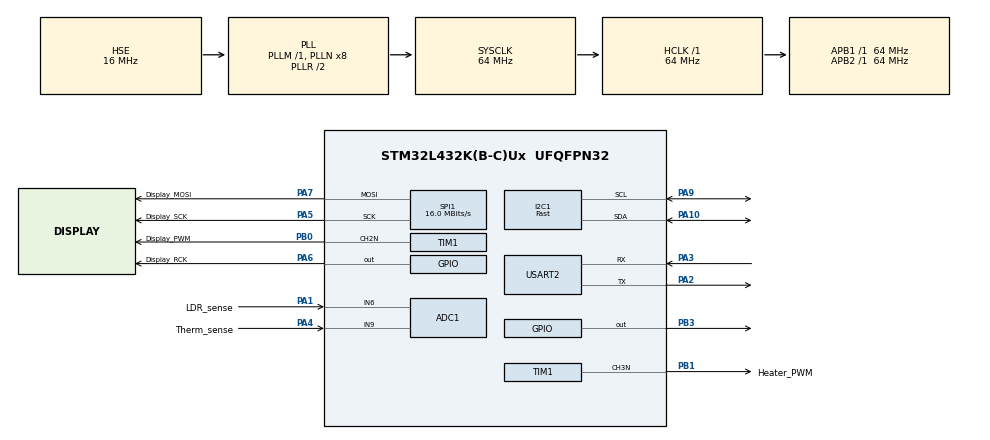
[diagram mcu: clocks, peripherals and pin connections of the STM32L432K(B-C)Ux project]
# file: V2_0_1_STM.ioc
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ADC1.Channel-0\#ChannelRegularConversion=ADC_CHANNEL_9
ADC1.NbrOfConversionFlag=1
ADC1.OffsetNumber-0\#ChannelRegularConversion=ADC_OFFSET_NONE
ADC1.Rank-0\#ChannelRegularConversion=1
ADC1.SamplingTime-0\#ChannelRegularConversion=ADC_SAMPLETIME_12CYCLES_5
ADC1.master=1
FREERTOS.Tasks01=defaultTask,-1,512,StartDefaultTask,Default,NULL,Dynamic,NULL,NULL;heaterControl,0,512,StartTask02,Default,NULL,Dynamic,NULL,NULL;Trancieve,-2,512,StartTask03,Default,NULL,Dynamic,NULL,NULL;displayMux,1,512,StartTask04,Default,NULL,Dynamic,NULL,NULL
FREERTOS.configENABLE_FPU=1
FREERTOS.configTOTAL_HEAP_SIZE=16384
I2C1.I2C_Speed_Mode=I2C_Fast
I2C1.Timing=0x00C12166
Mcu.Family=STM32L4
Mcu.Name=STM32L432K(B-C)Ux
Mcu.Package=UFQFPN32
NVIC.PriorityGroup=NVIC_PRIORITYGROUP_4
PA0.GPIO_Label=HSE_16MHZ
PA0.Mode=HSE-External-Clock-Source-for-LittleOrca
PA0.Signal=RCC_CK_IN
PA1.GPIO_Label=LDR_sense
PA1.Signal=SharedAnalog_PA1
PA10.Mode=I2C
PA10.Signal=I2C1_SDA
PA2.Mode=Asynchronous
PA2.Signal=USART2_TX
PA3.Mode=Asynchronous
PA3.Signal=USART2_RX
PA4.GPIO_Label=Therm_sense
PA4.Signal=SharedAnalog_PA4
PA5.GPIO_Label=Display_SCK
PA5.Mode=TX_Only_Simplex_Unidirect_Master
PA5.Signal=SPI1_SCK
PA6.GPIO_Label=Display_RCK
PA6.Signal=GPIO_Output
PA7.GPIO_Label=Display_MOSI
PA7.Mode=TX_Only_Simplex_Unidirect_Master
PA7.Signal=SPI1_MOSI
PA9.Mode=I2C
PA9.Signal=I2C1_SCL
PB0.GPIO_Label=Display_PWM
PB0.Mode=PWM Generation2 CH2N
PB0.Signal=TIM1_CH2N
PB1.GPIO_Label=Heater_PWM
PB1.Mode=PWM Generation3 CH3N
PB1.Signal=TIM1_CH3N
PB3\ (JTDO-TRACESWO).Signal=GPIO_Output
ProjectManager.HeapSize=0x200
ProjectManager.StackSize=0x400
ProjectManager.TargetToolchain=STM32CubeIDE
RCC.ADCFreq_Value=64000000
RCC.AHBFreq_Value=64000000
RCC.APB1Freq_Value=64000000
RCC.APB1TimFreq_Value=64000000
RCC.APB2Freq_Value=64000000
RCC.APB2TimFreq_Value=64000000
RCC.CortexFreq_Value=64000000
RCC.HCLKFreq_Value=64000000
RCC.HSE_VALUE=16000000
RCC.HSI48_VALUE=48000000
RCC.HSI_VALUE=16000000
RCC.LSE_VALUE=32768
RCC.MSI_VALUE=4000000
RCC.PLLSourceVirtual=RCC_PLLSOURCE_HSE
RCC.RTCClockSelection=RCC_RTCCLKSOURCE_HSE_DIV32
RCC.SYSCLKFreq_VALUE=64000000
RCC.SYSCLKSource=RCC_SYSCLKSOURCE_PLLCLK
RCC.USBFreq_Value=64000000
RCC.VCOOutputFreq_Value=128000000
RTC.AsynchPrediv=49
RTC.DayLightSaving=RTC_DAYLIGHTSAVING_NONE
RTC.Format=RTC_FORMAT_BIN
RTC.StoreOperation=RTC_STOREOPERATION_SET
RTC.SynchPrediv=9999
SH.SharedAnalog_PA1.0=GPIO_Analog
SH.SharedAnalog_PA1.1=ADC1_IN6,IN6-Single-Ended
SH.SharedAnalog_PA4.0=GPIO_Analog
SH.SharedAnalog_PA4.1=ADC1_IN9,IN9-Single-Ended
SPI1.BaudRatePrescaler=SPI_BAUDRATEPRESCALER_4
SPI1.CalculateBaudRate=16.0 MBits/s
SPI1.DataSize=SPI_DATASIZE_8BIT
SPI1.Direction=SPI_DIRECTION_2LINES
SPI1.Mode=SPI_MODE_MASTER
SPI1.VirtualType=VM_MASTER
TIM1.Channel-PWM\ Generation2\ CH2N=TIM_CHANNEL_2
TIM1.Channel-PWM\ Generation3\ CH3N=TIM_CHANNEL_3
TIM1.ClockDivision=TIM_CLOCKDIVISION_DIV1
TIM1.Period=4095
USART2.VirtualMode-Asynchronous=VM_ASYNC
VP_FREERTOS_VS_CMSIS_V1.Mode=CMSIS_V1
VP_RTC_VS_RTC_Activate.Mode=RTC_Enabled
VP_RTC_VS_RTC_Calendar.Mode=RTC_Calendar
VP_TIM1_VS_ClockSourceINT.Mode=Internal
board=custom

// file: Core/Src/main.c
/* USER CODE BEGIN Header */
/**
  ******************************************************************************
  * @file           : main.c
  * @brief          : Main program body
  ******************************************************************************
  * @attention
  *
  * Copyright (c) 2026 STMicroelectronics.
  * All rights reserved.
  *
  * This software is licensed under terms that can be found in the LICENSE file
  * in the root directory of this software component.
  * If no LICENSE file comes with this software, it is provided AS-IS.
  *
  ******************************************************************************
  */
/* USER CODE END Header */
#include "main.h"
#include "cmsis_os.h"

/* USER CODE BEGIN Includes */
#include <stdio.h>
#include <string.h>
/* USER CODE END Includes */

/* USER CODE BEGIN PTD */

typedef struct {
	uint32_t number;
	uint32_t time; // subsecond register content
} uint32_t_timestamped;

typedef struct {
	uint8_t LEDs; // 0b01 controls LED1, 0b10 controls LED2, 0b100 controls LED3
	uint8_t colon; // colon
	uint8_t dot; // controls the dot
	uint16_t brightness;

	uint8_t display_contents[6]; // numeric/hexadecimal display contents
} display_state_t;
/* USER CODE END PTD */

/* USER CODE BEGIN PD */
#define THERM_CHANNEL ADC_CHANNEL_9
#define LDR_ADC_CHANNEL ADC_CHANNEL_6

/* USER CODE END PD */

ADC_HandleTypeDef hadc1;

I2C_HandleTypeDef hi2c1;

RTC_HandleTypeDef hrtc;

SPI_HandleTypeDef hspi1;

TIM_HandleTypeDef htim1;

UART_HandleTypeDef huart2;

osThreadId defaultTaskHandle;
osThreadId heaterControlHandle;
osThreadId TrancieveHandle;
osThreadId displayMuxHandle;
/* USER CODE BEGIN PV */

volatile uint32_t ocxo_temp = 0;

volatile display_state_t current_display_state = {0};

const uint8_t segDecoder[] = {
  0b11111100, // 0 -> abcdef (DP off)
  0b01100000, // 1 -> bc (DP off)
  0b11011010, // 2 -> abdeg (DP off)
  0b11110010, // 3 -> abcdg (DP off)
  0b01100110, // 4 -> bcfg (DP off)
  0b10110110, // 5 -> acdfg (DP off)
  0b10111110, // 6 -> acdefg (DP off)
  0b11100000, // 7 -> abc (DP off)
  0b11111110, // 8 -> abcdefg (DP off)
  0b11110110, // 9 -> abcdfg (DP off)
  0b11101110, // A -> abcefg (DP off)
  0b00111110, // b -> cdefg (DP off)
  0b10011100, // C -> adef (DP off)
  0b01111010, // d -> bcdeg (DP off)
  0b10011110, // E -> adefg (DP off)
  0b10001110  // F -> aefg (DP off)
};

const uint16_t digitDecoder[] = {
  0b0000111111111100,
  0b0000111111110011,
  0b0000111111001111,
  0b0000111100111111,
  0b0000110011111111,
  0b0000001111111111
};

/* USER CODE END PV */

void SystemClock_Config(void);
static void MX_GPIO_Init(void);
static void MX_ADC1_Init(void);
static void MX_I2C1_Init(void);
static void MX_RTC_Init(void);
static void MX_TIM1_Init(void);
static void MX_USART2_UART_Init(void);
static void MX_SPI1_Init(void);
void StartDefaultTask(void const * argument);
void StartTask02(void const * argument);
void StartTask03(void const * argument);
void StartTask04(void const * argument);

/* USER CODE BEGIN 0 */

/**
 * @brief perform ADC conversion on selected channel
 * @return The ADC value and the timestamp in us based on the RTC subsecond register.
 */
uint32_t_timestamped adc_read_channel(ADC_HandleTypeDef *hadc, uint32_t channel)
{
    ADC_ChannelConfTypeDef config = {0};
    config.Channel      = channel;
    config.Rank         = ADC_REGULAR_RANK_1;
    config.SamplingTime = ADC_SAMPLETIME_12CYCLES_5;  // longer = more accurate for high impedance sources like thermistors

    uint32_t_timestamped result;
    RTC_TimeTypeDef conversion_time;

    HAL_ADC_ConfigChannel(hadc, &config);

    HAL_ADC_Start(hadc);
    HAL_ADC_PollForConversion(hadc, 100);
    HAL_RTC_GetTime(&hrtc, &conversion_time, RTC_FORMAT_BIN);
    HAL_ADC_Stop(hadc);

    result.number = HAL_ADC_GetValue(hadc);
    result.time = conversion_time.SubSeconds * 200;

    return result;
}
/* USER CODE END 0 */

int main(void)
{

  /* MCU Configuration--------------------------------------------------------*/

  /* Reset of all peripherals, Initializes the Flash interface and the Systick. */
  HAL_Init();

  /* Configure the system clock */
  SystemClock_Config();

  /* Initialize all configured peripherals */
  MX_GPIO_Init();
  MX_ADC1_Init();
  MX_I2C1_Init();
  MX_RTC_Init();
  MX_TIM1_Init();
  MX_USART2_UART_Init();
  MX_SPI1_Init();
  /* USER CODE BEGIN 2 */

  for(int i = 0; i < 6; i++)
  {
      current_display_state.display_contents[i] = 8;  // or some default value
  }
  current_display_state.LEDs = 0;
  current_display_state.colon = 0;
  current_display_state.dot = 0;
  current_display_state.brightness = 2048;  // 50% default

  HAL_ADC_Stop(&hadc1);
  HAL_ADCEx_Calibration_Start(&hadc1, ADC_SINGLE_ENDED);
  HAL_Delay(200);

  HAL_UART_Transmit(&huart2, (uint8_t*)"UART OK\r\n", 9, 1000);
//
//  HAL_ADCEx_Calibration_Start(&hadc1, ADC_SINGLE_ENDED);
//  HAL_Delay(200);
//
//  HAL_UART_Transmit(&huart2, (uint8_t*)"=== ADC Diagnostic ===\r\n", 25, 1000);
//
//  // Test channel 9 (PA4) at different voltages
//  for(int test = 0; test < 2; test++)
//  {
//      char buf[64];
//
//      if(test == 0)
//          snprintf(buf, sizeof(buf), "Connect PA4 to GND, press enter...\r\n");
//      else
//          snprintf(buf, sizeof(buf), "Connect PA4 to 3.3V, press enter...\r\n");
//
//      HAL_UART_Transmit(&huart2, (uint8_t*)buf, strlen(buf), 1000);
//      HAL_Delay(5000);  // 5 second wait
//
//      // Take 10 readings
//      for(int i = 0; i < 10; i++)
//      {
//          uint32_t val = adc_read_channel(&hadc1, ADC_CHANNEL_9).number;
//          snprintf(buf, sizeof(buf), "  Read %d: %ld\r\n", i, val);
//          HAL_UART_Transmit(&huart2, (uint8_t*)buf, strlen(buf), 100);
//          osDelay(100);
//      }
//      HAL_Delay(2000);
//  }
  /* USER CODE END 2 */

  /* USER CODE BEGIN RTOS_QUEUES */
  /* add queues, ... */

//  if(uartQueueHandle == NULL)
//  {
////      Error_Handler();
//  }
  /* USER CODE END RTOS_QUEUES */

  /* Create the thread(s) */
  /* definition and creation of defaultTask */
  osThreadDef(defaultTask, StartDefaultTask, osPriorityBelowNormal, 0, 512);
  defaultTaskHandle = osThreadCreate(osThread(defaultTask), NULL);

  /* definition and creation of heaterControl */
  osThreadDef(heaterControl, StartTask02, osPriorityNormal, 0, 512);
  heaterControlHandle = osThreadCreate(osThread(heaterControl), NULL);

  /* definition and creation of Trancieve */
  osThreadDef(Trancieve, StartTask03, osPriorityLow, 0, 512);
  TrancieveHandle = osThreadCreate(osThread(Trancieve), NULL);

  /* definition and creation of displayMux */
  osThreadDef(displayMux, StartTask04, osPriorityAboveNormal, 0, 512);
  displayMuxHandle = osThreadCreate(osThread(displayMux), NULL);

  /* Start scheduler */
  osKernelStart();

  /* We should never get here as control is now taken by the scheduler */

  /* Infinite loop */
  while (1)
  {

  }
}

void SystemClock_Config(void)
{
  RCC_OscInitTypeDef RCC_OscInitStruct = {0};
  RCC_ClkInitTypeDef RCC_ClkInitStruct = {0};

  /** Configure the main internal regulator output voltage
  */
  if (HAL_PWREx_ControlVoltageScaling(PWR_REGULATOR_VOLTAGE_SCALE1) != HAL_OK)
  {
    Error_Handler();
  }

  /** Initializes the RCC Oscillators according to the specified parameters
  * in the RCC_OscInitTypeDef structure.
  */
  RCC_OscInitStruct.OscillatorType = RCC_OSCILLATORTYPE_HSE;
  RCC_OscInitStruct.HSEState = RCC_HSE_BYPASS;
  RCC_OscInitStruct.PLL.PLLState = RCC_PLL_ON;
  RCC_OscInitStruct.PLL.PLLSource = RCC_PLLSOURCE_HSE;
  RCC_OscInitStruct.PLL.PLLM = 1;
  RCC_OscInitStruct.PLL.PLLN = 8;
  RCC_OscInitStruct.PLL.PLLP = RCC_PLLP_DIV7;
  RCC_OscInitStruct.PLL.PLLQ = RCC_PLLQ_DIV2;
  RCC_OscInitStruct.PLL.PLLR = RCC_PLLR_DIV2;
  if (HAL_RCC_OscConfig(&RCC_OscInitStruct) != HAL_OK)
  {
    Error_Handler();
  }

  /** Initializes the CPU, AHB and APB buses clocks
  */
  RCC_ClkInitStruct.ClockType = RCC_CLOCKTYPE_HCLK|RCC_CLOCKTYPE_SYSCLK
                              |RCC_CLOCKTYPE_PCLK1|RCC_CLOCKTYPE_PCLK2;
  RCC_ClkInitStruct.SYSCLKSource = RCC_SYSCLKSOURCE_PLLCLK;
  RCC_ClkInitStruct.AHBCLKDivider = RCC_SYSCLK_DIV1;
  RCC_ClkInitStruct.APB1CLKDivider = RCC_HCLK_DIV1;
  RCC_ClkInitStruct.APB2CLKDivider = RCC_HCLK_DIV1;

  if (HAL_RCC_ClockConfig(&RCC_ClkInitStruct, FLASH_LATENCY_3) != HAL_OK)
  {
    Error_Handler();
  }
}

static void MX_ADC1_Init(void)
{

  ADC_ChannelConfTypeDef sConfig = {0};

  /** Common config
  */
  hadc1.Instance = ADC1;
  hadc1.Init.ClockPrescaler = ADC_CLOCK_ASYNC_DIV1;
  hadc1.Init.Resolution = ADC_RESOLUTION_12B;
  hadc1.Init.DataAlign = ADC_DATAALIGN_RIGHT;
  hadc1.Init.ScanConvMode = ADC_SCAN_DISABLE;
  hadc1.Init.EOCSelection = ADC_EOC_SINGLE_CONV;
  hadc1.Init.LowPowerAutoWait = DISABLE;
  hadc1.Init.ContinuousConvMode = DISABLE;
  hadc1.Init.NbrOfConversion = 1;
  hadc1.Init.DiscontinuousConvMode = DISABLE;
  hadc1.Init.ExternalTrigConv = ADC_SOFTWARE_START;
  hadc1.Init.ExternalTrigConvEdge = ADC_EXTERNALTRIGCONVEDGE_NONE;
  hadc1.Init.DMAContinuousRequests = DISABLE;
  hadc1.Init.Overrun = ADC_OVR_DATA_PRESERVED;
  hadc1.Init.OversamplingMode = DISABLE;
  if (HAL_ADC_Init(&hadc1) != HAL_OK)
  {
    Error_Handler();
  }

  /** Configure Regular Channel
  */
  sConfig.Channel = ADC_CHANNEL_9;
  sConfig.Rank = ADC_REGULAR_RANK_1;
  sConfig.SamplingTime = ADC_SAMPLETIME_12CYCLES_5;
  sConfig.SingleDiff = ADC_SINGLE_ENDED;
  sConfig.OffsetNumber = ADC_OFFSET_NONE;
  sConfig.Offset = 0;
  if (HAL_ADC_ConfigChannel(&hadc1, &sConfig) != HAL_OK)
  {
    Error_Handler();
  }

}

static void MX_I2C1_Init(void)
{

  hi2c1.Instance = I2C1;
  hi2c1.Init.Timing = 0x00C12166;
  hi2c1.Init.OwnAddress1 = 0;
  hi2c1.Init.AddressingMode = I2C_ADDRESSINGMODE_7BIT;
  hi2c1.Init.DualAddressMode = I2C_DUALADDRESS_DISABLE;
  hi2c1.Init.OwnAddress2 = 0;
  hi2c1.Init.OwnAddress2Masks = I2C_OA2_NOMASK;
  hi2c1.Init.GeneralCallMode = I2C_GENERALCALL_DISABLE;
  hi2c1.Init.NoStretchMode = I2C_NOSTRETCH_DISABLE;
  if (HAL_I2C_Init(&hi2c1) != HAL_OK)
  {
    Error_Handler();
  }

  /** Configure Analogue filter
  */
  if (HAL_I2CEx_ConfigAnalogFilter(&hi2c1, I2C_ANALOGFILTER_ENABLE) != HAL_OK)
  {
    Error_Handler();
  }

  /** Configure Digital filter
  */
  if (HAL_I2CEx_ConfigDigitalFilter(&hi2c1, 0) != HAL_OK)
  {
    Error_Handler();
  }

}

static void MX_RTC_Init(void)
{

  RTC_TimeTypeDef sTime = {0};
  RTC_DateTypeDef sDate = {0};

  /** Initialize RTC Only
  */
  hrtc.Instance = RTC;
  hrtc.Init.HourFormat = RTC_HOURFORMAT_24;
  hrtc.Init.AsynchPrediv = 49;
  hrtc.Init.SynchPrediv = 9999;
  hrtc.Init.OutPut = RTC_OUTPUT_DISABLE;
  hrtc.Init.OutPutRemap = RTC_OUTPUT_REMAP_NONE;
  hrtc.Init.OutPutPolarity = RTC_OUTPUT_POLARITY_HIGH;
  hrtc.Init.OutPutType = RTC_OUTPUT_TYPE_OPENDRAIN;
  if (HAL_RTC_Init(&hrtc) != HAL_OK)
  {
    Error_Handler();
  }

  /** Initialize RTC and set the Time and Date
  */
  sTime.Hours = 0;
  sTime.Minutes = 0;
  sTime.Seconds = 0;
  sTime.DayLightSaving = RTC_DAYLIGHTSAVING_NONE;
  sTime.StoreOperation = RTC_STOREOPERATION_SET;
  if (HAL_RTC_SetTime(&hrtc, &sTime, RTC_FORMAT_BIN) != HAL_OK)
  {
    Error_Handler();
  }
  sDate.WeekDay = RTC_WEEKDAY_MONDAY;
  sDate.Month = RTC_MONTH_JANUARY;
  sDate.Date = 1;
  sDate.Year = 0;

  if (HAL_RTC_SetDate(&hrtc, &sDate, RTC_FORMAT_BIN) != HAL_OK)
  {
    Error_Handler();
  }

}

static void MX_SPI1_Init(void)
{

  /* SPI1 parameter configuration*/
  hspi1.Instance = SPI1;
  hspi1.Init.Mode = SPI_MODE_MASTER;
  hspi1.Init.Direction = SPI_DIRECTION_2LINES;
  hspi1.Init.DataSize = SPI_DATASIZE_8BIT;
  hspi1.Init.CLKPolarity = SPI_POLARITY_LOW;
  hspi1.Init.CLKPhase = SPI_PHASE_1EDGE;
  hspi1.Init.NSS = SPI_NSS_SOFT;
  hspi1.Init.BaudRatePrescaler = SPI_BAUDRATEPRESCALER_4;
  hspi1.Init.FirstBit = SPI_FIRSTBIT_MSB;
  hspi1.Init.TIMode = SPI_TIMODE_DISABLE;
  hspi1.Init.CRCCalculation = SPI_CRCCALCULATION_DISABLE;
  hspi1.Init.CRCPolynomial = 7;
  hspi1.Init.CRCLength = SPI_CRC_LENGTH_DATASIZE;
  hspi1.Init.NSSPMode = SPI_NSS_PULSE_ENABLE;
  if (HAL_SPI_Init(&hspi1) != HAL_OK)
  {
    Error_Handler();
  }

}

static void MX_TIM1_Init(void)
{

  TIM_ClockConfigTypeDef sClockSourceConfig = {0};
  TIM_MasterConfigTypeDef sMasterConfig = {0};
  TIM_OC_InitTypeDef sConfigOC = {0};
  TIM_BreakDeadTimeConfigTypeDef sBreakDeadTimeConfig = {0};

  htim1.Instance = TIM1;
  htim1.Init.Prescaler = 0;
  htim1.Init.CounterMode = TIM_COUNTERMODE_UP;
  htim1.Init.Period = 4095;
  htim1.Init.ClockDivision = TIM_CLOCKDIVISION_DIV1;
  htim1.Init.RepetitionCounter = 0;
  htim1.Init.AutoReloadPreload = TIM_AUTORELOAD_PRELOAD_DISABLE;
  if (HAL_TIM_Base_Init(&htim1) != HAL_OK)
  {
    Error_Handler();
  }
  sClockSourceConfig.ClockSource = TIM_CLOCKSOURCE_INTERNAL;
  if (HAL_TIM_ConfigClockSource(&htim1, &sClockSourceConfig) != HAL_OK)
  {
    Error_Handler();
  }
  if (HAL_TIM_PWM_Init(&htim1) != HAL_OK)
  {
    Error_Handler();
  }
  sMasterConfig.MasterOutputTrigger = TIM_TRGO_RESET;
  sMasterConfig.MasterOutputTrigger2 = TIM_TRGO2_RESET;
  sMasterConfig.MasterSlaveMode = TIM_MASTERSLAVEMODE_DISABLE;
  if (HAL_TIMEx_MasterConfigSynchronization(&htim1, &sMasterConfig) != HAL_OK)
  {
    Error_Handler();
  }
  sConfigOC.OCMode = TIM_OCMODE_PWM1;
  sConfigOC.Pulse = 0;
  sConfigOC.OCPolarity = TIM_OCPOLARITY_HIGH;
  sConfigOC.OCNPolarity = TIM_OCNPOLARITY_HIGH;
  sConfigOC.OCFastMode = TIM_OCFAST_DISABLE;
  sConfigOC.OCIdleState = TIM_OCIDLESTATE_RESET;
  sConfigOC.OCNIdleState = TIM_OCNIDLESTATE_RESET;
  if (HAL_TIM_PWM_ConfigChannel(&htim1, &sConfigOC, TIM_CHANNEL_2) != HAL_OK)
  {
    Error_Handler();
  }
  if (HAL_TIM_PWM_ConfigChannel(&htim1, &sConfigOC, TIM_CHANNEL_3) != HAL_OK)
  {
    Error_Handler();
  }
  sBreakDeadTimeConfig.OffStateRunMode = TIM_OSSR_DISABLE;
  sBreakDeadTimeConfig.OffStateIDLEMode = TIM_OSSI_DISABLE;
  sBreakDeadTimeConfig.LockLevel = TIM_LOCKLEVEL_OFF;
  sBreakDeadTimeConfig.DeadTime = 0;
  sBreakDeadTimeConfig.BreakState = TIM_BREAK_DISABLE;
  sBreakDeadTimeConfig.BreakPolarity = TIM_BREAKPOLARITY_HIGH;
  sBreakDeadTimeConfig.BreakFilter = 0;
  sBreakDeadTimeConfig.Break2State = TIM_BREAK2_DISABLE;
  sBreakDeadTimeConfig.Break2Polarity = TIM_BREAK2POLARITY_HIGH;
  sBreakDeadTimeConfig.Break2Filter = 0;
  sBreakDeadTimeConfig.AutomaticOutput = TIM_AUTOMATICOUTPUT_DISABLE;
  if (HAL_TIMEx_ConfigBreakDeadTime(&htim1, &sBreakDeadTimeConfig) != HAL_OK)
  {
    Error_Handler();
  }
  HAL_TIM_MspPostInit(&htim1);

}

static void MX_USART2_UART_Init(void)
{

  huart2.Instance = USART2;
  huart2.Init.BaudRate = 115200;
  huart2.Init.WordLength = UART_WORDLENGTH_8B;
  huart2.Init.StopBits = UART_STOPBITS_1;
  huart2.Init.Parity = UART_PARITY_NONE;
  huart2.Init.Mode = UART_MODE_TX_RX;
  huart2.Init.HwFlowCtl = UART_HWCONTROL_NONE;
  huart2.Init.OverSampling = UART_OVERSAMPLING_16;
  huart2.Init.OneBitSampling = UART_ONE_BIT_SAMPLE_DISABLE;
  huart2.AdvancedInit.AdvFeatureInit = UART_ADVFEATURE_NO_INIT;
  if (HAL_UART_Init(&huart2) != HAL_OK)
  {
    Error_Handler();
  }

}

static void MX_GPIO_Init(void)
{
  GPIO_InitTypeDef GPIO_InitStruct = {0};

  /* GPIO Ports Clock Enable */
  __HAL_RCC_GPIOA_CLK_ENABLE();
  __HAL_RCC_GPIOB_CLK_ENABLE();

  /*Configure GPIO pin Output Level */
  HAL_GPIO_WritePin(Display_RCK_GPIO_Port, Display_RCK_Pin, GPIO_PIN_RESET);

  /*Configure GPIO pin Output Level */
  HAL_GPIO_WritePin(GPIOB, GPIO_PIN_3, GPIO_PIN_RESET);

  /*Configure GPIO pin : Display_RCK_Pin */
  GPIO_InitStruct.Pin = Display_RCK_Pin;
  GPIO_InitStruct.Mode = GPIO_MODE_OUTPUT_PP;
  GPIO_InitStruct.Pull = GPIO_NOPULL;
  GPIO_InitStruct.Speed = GPIO_SPEED_FREQ_LOW;
  HAL_GPIO_Init(Display_RCK_GPIO_Port, &GPIO_InitStruct);

  /*Configure GPIO pin : PB3 */
  GPIO_InitStruct.Pin = GPIO_PIN_3;
  GPIO_InitStruct.Mode = GPIO_MODE_OUTPUT_PP;
  GPIO_InitStruct.Pull = GPIO_NOPULL;
  GPIO_InitStruct.Speed = GPIO_SPEED_FREQ_LOW;
  HAL_GPIO_Init(GPIOB, &GPIO_InitStruct);

}

/* USER CODE BEGIN 4 */
//void StartDisplayMuxTask(void const * argument){
//
//}
//
//void StartHeaterControllerTask(){
//
//
//}

void vApplicationStackOverflowHook(TaskHandle_t xTask, char *pcTaskName)
{
    // Blink fast or send a specific UART message so you know what happened
    while(1)
    {
        HAL_GPIO_TogglePin(GPIOB, GPIO_PIN_3);
        HAL_Delay(100);
    }
}

/* USER CODE END 4 */

void StartDefaultTask(void const * argument)
{
  /* USER CODE BEGIN 5 */

  /* Infinite loop */
  for(;;)
  {
	HAL_GPIO_WritePin(GPIOB, GPIO_PIN_3, 1);
    osDelay(500);
    HAL_GPIO_WritePin(GPIOB, GPIO_PIN_3, 0);

    RTC_TimeTypeDef now;
	RTC_DateTypeDef today;

	HAL_RTC_GetTime(&hrtc, &now, RTC_FORMAT_BIN);
	HAL_RTC_GetDate(&hrtc, &today, RTC_FORMAT_BIN);

    osDelay(500);

  }
  /* USER CODE END 5 */
}

void StartTask02(void const * argument)
{
  /* USER CODE BEGIN StartTask02 */
	uint32_t prev_time = 0; // us

//	controller
//	constants
	const float Ki = 0.0f;
	const float Kp = 0.0f;

//	signals
	const float setpoint = 40.0f; // C

	float error = 0.0f; // C
	float prev_error = 0.0f;
	float actuator = 0.0f; // W

	float temp; // C

	float intergral = 0.0f;

	const float intergral_limits = 5.0f;

	const float actuator_limits = 5.0f;

	__HAL_TIM_SET_COMPARE(&htim1, TIM_CHANNEL_3, 0);
	HAL_TIM_PWM_Start(&htim1, TIM_CHANNEL_3);

	for(;;){
		// measure tempreature
		uint32_t_timestamped temp_raw = adc_read_channel(&hadc1, THERM_CHANNEL);
		temp = temp_raw.number * 1.0 + 0.0; // TODO: implement ADC value to tempreature conversion

		uint32_t dt = (temp_raw.time - prev_time) % 1000000UL; // dt in us

		error = temp - setpoint;

		intergral = (error + prev_error)*(dt/2000000.0f); // intergral C*s

		// anti windup
		if(intergral>intergral_limits) intergral = intergral_limits;
		if(intergral< -1.0f*intergral_limits) intergral = -1.0f*intergral_limits;

		actuator = Ki*intergral + Kp*error;

		// set heater value to actuator
		// clip actuator to available range
		if(actuator>actuator_limits) actuator = actuator_limits;
		if(actuator<-1.0f*actuator_limits) actuator = -1.0f*actuator_limits;

		actuator = actuator*0.0f + 0.0f; // TODO: actuator registor control mapping

		// Map actuator from [-5.0, +5.0] to [0, 4095]
		// Assuming 0.0 actuator = 50% duty (4095)
		uint16_t ccr_value = (int)((actuator / 10.0f + 0.5f) * 4095.0f);

		__HAL_TIM_SET_COMPARE(&htim1, TIM_CHANNEL_3, ccr_value);

		prev_error = error;
		ocxo_temp = temp_raw.number;

		osDelay(100);
	}
  /* USER CODE END StartTask02 */
}

void StartTask03(void const * argument)
{
  /* USER CODE BEGIN StartTask03 */
	osDelay(500);
	HAL_UART_Transmit(&huart2, (uint8_t*)"\r\n\r\n", 4, 50);
	HAL_UART_Transmit(&huart2, (uint8_t*)"Hello from the clock. I have just turned on\r\n", 45, 1000);

	for(;;)
	{
		RTC_TimeTypeDef now;
		RTC_DateTypeDef today;

		HAL_RTC_GetTime(&hrtc, &now, RTC_FORMAT_BIN);
		HAL_RTC_GetDate(&hrtc, &today, RTC_FORMAT_BIN);

		char msg[64];

		snprintf(msg, sizeof(msg), "%02d:%02d:%02d %02d/%02d/%02d\r\nOCXO: %05ldC\r\n\033[2A",
		                 now.Hours, now.Minutes, now.Seconds,
		                 today.Date, today.Month, today.Year,
		                 ocxo_temp);

		HAL_UART_Transmit(&huart2, (uint8_t*)msg, strlen(msg), 10);

		osDelay(100);
	}
  /* USER CODE END StartTask03 */
}

void StartTask04(void const * argument)
{
  /* USER CODE BEGIN StartTask04 */
	uint8_t current_digit = 0;
	uint8_t sr[3];

	// Initialize first digit's data
	sr[0] = segDecoder[current_display_state.display_contents[0]];
	sr[1] = (digitDecoder[0] & 0x0F) | ((current_display_state.LEDs & 0b00000110) << 3);
	sr[2] = digitDecoder[0] >> 4;

	for(;;)
	{

		uint8_t next_digit_value = current_display_state.display_contents[current_digit];

		sr[0] = segDecoder[next_digit_value];
		sr[1] = (digitDecoder[current_digit] & 0x0F) | ((current_display_state.LEDs & 0b00000110) << 3);
		sr[2] = digitDecoder[current_digit] >> 4;

		// Control brightness via PWM on OE pin
		__HAL_TIM_SET_COMPARE(&htim1, TIM_CHANNEL_1, current_display_state.brightness);

		// Control LED3 on front panel
		HAL_GPIO_WritePin(GPIOC, GPIO_PIN_9, (current_display_state.LEDs & 0b100) ? 1 : 0);

		// Start blocking SPI transmit of current digit
		HAL_SPI_Transmit(&hspi1, (uint8_t*)&sr, sizeof(sr), 2);

		// Pulse RCLK to latch data into output registers
		HAL_GPIO_WritePin(GPIOA, GPIO_PIN_6, GPIO_PIN_SET);
		HAL_GPIO_WritePin(GPIOA, GPIO_PIN_6, GPIO_PIN_RESET);

		// Calculate next digit's data
		current_digit = (current_digit + 1) % 6;

		osDelay(1);  // 1ms per digit = 1kHz refresh
	}
  /* USER CODE END StartTask04 */
}

void Error_Handler(void)
{
  /* USER CODE BEGIN Error_Handler_Debug */
  /* User can add his own implementation to report the HAL error return state */
  __disable_irq();
  while (1)
  {
	  HAL_GPIO_TogglePin(GPIOB, GPIO_PIN_3);
	  HAL_Delay(100);
	  char error[32];
	  snprintf(error, 32, "Error:%d\r\n", 69);
	  HAL_UART_Transmit(&huart2, (uint8_t*)error, strlen(error), 1000);
  }
  /* USER CODE END Error_Handler_Debug */
}
